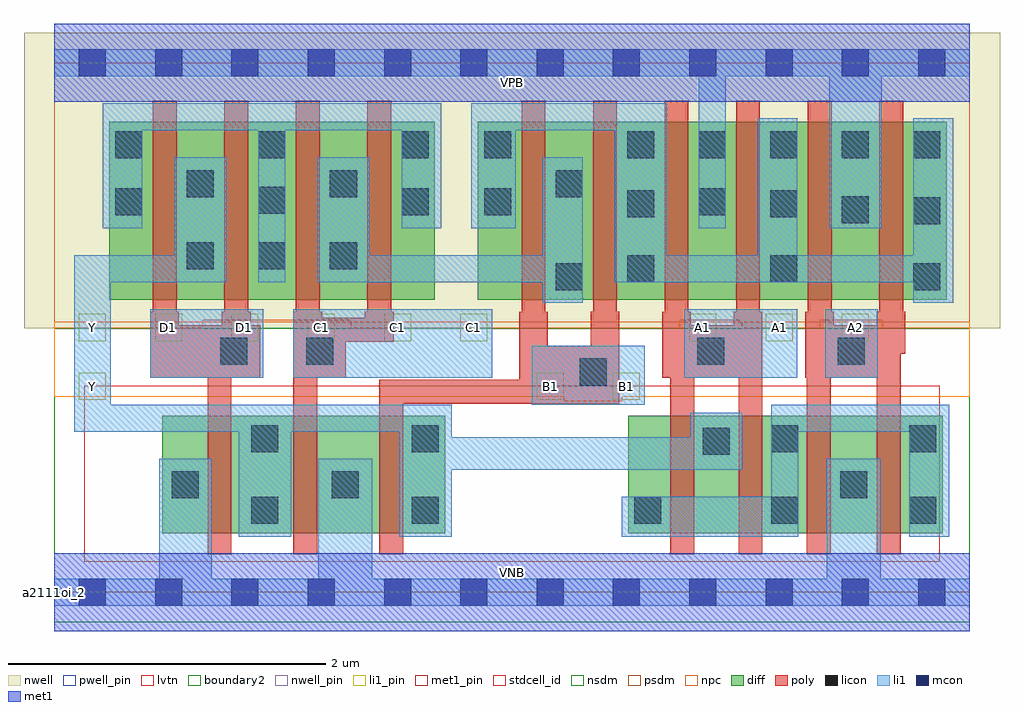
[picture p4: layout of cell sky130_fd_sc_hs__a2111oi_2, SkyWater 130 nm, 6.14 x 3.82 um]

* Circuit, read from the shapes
.subckt sky130_fd_sc_hs__a2111oi_2 A1 A2 B1 C1 D1 VGND VNB VPB VPWR Y
XM1 Y D1 VGND VNB sky130_fd_pr__nfet_01v8_lvt w=0.74 l=0.15
XM2 VGND C1 Y VNB sky130_fd_pr__nfet_01v8_lvt w=0.74 l=0.15
XM3 Y B1 VGND VNB sky130_fd_pr__nfet_01v8_lvt w=0.74 l=0.15
XM4 Y A1 n1 VNB sky130_fd_pr__nfet_01v8_lvt w=0.74 l=0.15 m=2
XM5 VGND A2 n1 VNB sky130_fd_pr__nfet_01v8_lvt w=0.74 l=0.15 m=2
XM6 Y D1 n2 VPB sky130_fd_pr__pfet_01v8 w=1.12 l=0.15 m=2
XM7 n3 C1 n2 VPB sky130_fd_pr__pfet_01v8 w=1.12 l=0.15 m=2
XM8 n3 B1 n4 VPB sky130_fd_pr__pfet_01v8 w=1.12 l=0.15 m=2
XM9 VPWR A1 n4 VPB sky130_fd_pr__pfet_01v8 w=1.12 l=0.15 m=2
XM10 VPWR A2 n4 VPB sky130_fd_pr__pfet_01v8 w=1.12 l=0.15 m=2
.ends

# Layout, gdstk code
import gdstk
lib = gdstk.Library(unit=1e-6, precision=1e-09)
def R(c, l, rs):  # rectangles x0, y0, x1, y1
    for r in rs: c.add(gdstk.rectangle(r[:2], r[2:], *l))
def A(c, l, x, y, w, h, nx, ny, dx, dy):  # array of equal rectangles
    R(c, l, [(x+i*dx, y+j*dy, x+i*dx+w, y+j*dy+h) for i in range(nx) for j in range(ny)])
def P(c, l, *ps):  # polygons
    for p in ps: c.add(gdstk.Polygon(p, *l))
nwell_pin = (64, 16)
nwell = (64, 20)
diff = (65, 20)
poly = (66, 20)
licon = (66, 44)
li1_pin = (67, 16)
li1 = (67, 20)
mcon = (67, 44)
met1_pin = (68, 16)
met1 = (68, 20)
stdcell_id = (81, 4)
nsdm = (93, 44)
psdm = (94, 20)
npc = (95, 20)
pwell_pin = (122, 16)
lvtn = (125, 44)
boundary2 = (236, 0)

sky130_fd_sc_hs__a2111oi = lib.new_cell('sky130_fd_sc_hs__a2111oi_2')
R(sky130_fd_sc_hs__a2111oi, nwell_pin, [(0,3.085,5.76,3.33)])
R(sky130_fd_sc_hs__a2111oi, nwell, [(-0.19,1.66,5.95,3.52)])
R(sky130_fd_sc_hs__a2111oi, diff, [(0.68,0.37,2.46,1.11), (3.61,0.37,5.59,1.11), (0.345,1.84,2.395,2.96), (2.665,1.84,5.615,2.96)])
P(sky130_fd_sc_hs__a2111oi, poly, [(5.355,1.765),(5.34,1.765),(5.34,3.09),(5.19,3.09),(5.19,1.765),(5.175,1.765),(5.175,1.68),(4.905,1.68),(4.905,1.765),(4.89,1.765),(4.89,3.09),(4.74,3.09),(4.74,1.765),(4.725,1.765),(4.725,1.35),(4.735,1.35),(4.735,0.24),(4.885,0.24),(4.885,1.35),(5.175,1.35),(5.175,0.24),(5.325,0.24),(5.325,1.5),(5.355,1.5)],
  [(4.455,1.765),(4.44,1.765),(4.44,3.09),(4.29,3.09),(4.29,1.765),(4.275,1.765),(4.275,1.68),(4.005,1.68),(4.005,1.765),(3.99,1.765),(3.99,3.09),(3.84,3.09),(3.84,1.765),(3.825,1.765),(3.825,1.35),(3.875,1.35),(3.875,0.24),(4.025,0.24),(4.025,1.35),(4.305,1.35),(4.305,0.24),(4.455,0.24)],
  [(3.555,1.765),(3.54,1.765),(3.54,3.09),(3.39,3.09),(3.39,1.765),(3.375,1.765),(3.375,1.55),(3.105,1.55),(3.105,1.765),(3.09,1.765),(3.09,3.09),(2.94,3.09),(2.94,1.765),(2.925,1.765),(2.925,1.335),(2.045,1.335),(2.045,0.24),(2.195,0.24),(2.195,1.185),(3.555,1.185)],
  [(2.135,1.765),(2.12,1.765),(2.12,3.09),(1.97,3.09),(1.97,1.765),(1.955,1.765),(1.955,1.725),(1.685,1.725),(1.685,1.765),(1.67,1.765),(1.67,3.09),(1.52,3.09),(1.52,1.765),(1.505,1.765),(1.505,0.24),(1.655,0.24),(1.655,1.35),(1.835,1.35),(1.835,1.575),(2.135,1.575)],
  [(1.295,1.68),(1.235,1.68),(1.235,1.765),(1.22,1.765),(1.22,3.09),(1.07,3.09),(1.07,1.765),(1.055,1.765),(1.055,1.68),(0.785,1.68),(0.785,1.765),(0.77,1.765),(0.77,3.09),(0.62,3.09),(0.62,1.765),(0.605,1.765),(0.605,1.35),(0.965,1.35),(0.965,0.24),(1.115,0.24),(1.115,1.35),(1.295,1.35)])
A(sky130_fd_sc_hs__a2111oi, licon, 0.835, 2.03, 0.17, 0.17, 3, 1, 0.45, 0)
A(sky130_fd_sc_hs__a2111oi, licon, 0.385, 2.73, 0.17, 0.17, 3, 1, 0.9, 0)
A(sky130_fd_sc_hs__a2111oi, licon, 3.605, 2.73, 0.17, 0.17, 5, 1, 0.45, 0)
R(sky130_fd_sc_hs__a2111oi, licon, [(1.24,0.43,1.41,0.6), (2.25,0.43,2.42,0.6), (3.65,0.43,3.82,0.6), (4.51,0.43,4.68,0.6), (5.38,0.43,5.55,0.6), (0.74,0.59,0.91,0.76), (1.745,0.59,1.915,0.76), (4.945,0.59,5.115,0.76), (4.08,0.865,4.25,1.035), (1.24,0.88,1.41,1.05), (2.25,0.88,2.42,1.05), (4.51,0.88,4.68,1.05), (5.38,0.88,5.55,1.05), (3.305,1.3,3.475,1.47), (1.045,1.43,1.215,1.6), (1.585,1.43,1.755,1.6), (4.045,1.43,4.215,1.6), (4.93,1.43,5.1,1.6), (3.155,1.9,3.325,2.07), (5.405,1.9,5.575,2.07), (3.605,1.95,3.775,2.12), (4.505,1.95,4.675,2.12), (5.405,2.315,5.575,2.485), (4.955,2.32,5.125,2.49), (3.605,2.36,3.775,2.53), (4.505,2.36,4.675,2.53), (0.385,2.37,0.555,2.54), (2.185,2.37,2.355,2.54), (2.705,2.37,2.875,2.54), (4.055,2.37,4.225,2.54), (1.285,2.38,1.455,2.55), (0.835,2.485,1.005,2.655), (1.735,2.485,1.905,2.655), (3.155,2.485,3.325,2.655), (2.705,2.73,2.875,2.9)])
A(sky130_fd_sc_hs__a2111oi, li1_pin, 0.155, 1.58, 0.17, 0.17, 6, 1, 0.48, 0)
A(sky130_fd_sc_hs__a2111oi, li1_pin, 3.995, 1.58, 0.17, 0.17, 3, 1, 0.48, 0)
R(sky130_fd_sc_hs__a2111oi, li1_pin, [(0.155,1.21,0.325,1.38), (3.035,1.21,3.205,1.38), (3.515,1.21,3.685,1.38)])
R(sky130_fd_sc_hs__a2111oi, li1, [(3.005,1.18,3.715,1.55), (0.605,1.35,1.315,1.78), (1.505,1.35,2.755,1.78), (3.965,1.35,4.675,1.78), (4.85,1.35,5.18,1.78)])
P(sky130_fd_sc_hs__a2111oi, li1, [(4.875,2.29),(4.875,3.245),(4.225,3.245),(4.225,2.29),(4.055,2.29),(4.055,3.245),(0,3.245),(0,3.415),(5.76,3.415),(5.76,3.245),(5.205,3.245),(5.205,2.29)],
  [(0.66,0.085),(0.66,0.84),(0.99,0.84),(0.99,0.085),(1.66,0.085),(1.66,0.84),(2,0.84),(2,0.085),(4.86,0.085),(4.86,0.84),(5.2,0.84),(5.2,0.085),(5.76,0.085),(5.76,-0.085),(0,-0.085),(0,0.085)],
  [(1.285,1.95),(1.285,2.905),(0.555,2.905),(0.555,2.29),(0.305,2.29),(0.305,3.075),(2.435,3.075),(2.435,2.29),(2.185,2.29),(2.185,2.905),(1.455,2.905),(1.455,1.95)],
  [(2.17,0.35),(2.17,1.01),(1.49,1.01),(1.49,0.35),(1.16,0.35),(1.16,1.01),(0.125,1.01),(0.125,2.12),(0.755,2.12),(0.755,2.735),(1.085,2.735),(1.085,1.95),(0.355,1.95),(0.355,1.18),(2.5,1.18),(2.5,0.975),(4,0.975),(4,1.13),(4.33,1.13),(4.33,0.77),(2.5,0.77),(2.5,0.35)],
  [(3.075,1.82),(3.075,1.95),(1.655,1.95),(1.655,2.735),(1.985,2.735),(1.985,2.12),(3.075,2.12),(3.075,2.735),(3.325,2.735),(3.325,1.82)],
  [(5.655,2.98),(5.405,2.98),(5.405,2.12),(4.675,2.12),(4.675,2.98),(4.425,2.98),(4.425,2.12),(3.855,2.12),(3.855,3.075),(2.625,3.075),(2.625,2.29),(2.905,2.29),(2.905,2.905),(3.525,2.905),(3.525,1.95),(5.405,1.95),(5.405,1.82),(5.655,1.82)],
  [(4.51,0.6),(4.51,1.18),(5.63,1.18),(5.63,0.35),(5.38,0.35),(5.38,1.01),(4.68,1.01),(4.68,0.35),(3.57,0.35),(3.57,0.6)])
A(sky130_fd_sc_hs__a2111oi, mcon, 0.155, -0.085, 0.17, 0.17, 12, 2, 0.48, 3.33)
R(sky130_fd_sc_hs__a2111oi, met1_pin, [(0,0,5.76,0.245), (0,3.085,5.76,3.33)])
R(sky130_fd_sc_hs__a2111oi, met1, [(0,-0.245,5.76,0.245), (0,3.085,5.76,3.575)])
R(sky130_fd_sc_hs__a2111oi, stdcell_id, [(0,0,5.76,3.33)])
R(sky130_fd_sc_hs__a2111oi, nsdm, [(0,-0.19,5.76,1.66)])
P(sky130_fd_sc_hs__a2111oi, psdm, [(5.76,3.52),(0,3.52),(0,1.66),(0.935,1.66),(0.935,1.71),(1.865,1.71),(1.865,1.66),(3.935,1.66),(3.935,1.71),(4.325,1.71),(4.325,1.66),(4.82,1.66),(4.82,1.71),(5.21,1.71),(5.21,1.66),(5.76,1.66)])
P(sky130_fd_sc_hs__a2111oi, npc, [(5.76,1.7),(0,1.7),(0,1.23),(3.205,1.23),(3.205,1.2),(3.575,1.2),(3.575,1.23),(5.76,1.23)])
R(sky130_fd_sc_hs__a2111oi, pwell_pin, [(0,0,5.76,0.245)])
R(sky130_fd_sc_hs__a2111oi, lvtn, [(0.19,0.19,5.57,1.3)])
R(sky130_fd_sc_hs__a2111oi, boundary2, [(0,0,5.76,3.33)])
sky130_fd_sc_hs__a2111oi.add(gdstk.Label('a2111oi_2', (0,0), layer=83, texttype=44))
sky130_fd_sc_hs__a2111oi.add(gdstk.Label('VNB', (2.88,0.123), layer=64, texttype=59))
sky130_fd_sc_hs__a2111oi.add(gdstk.Label('VPB', (2.88,3.208), layer=64, texttype=5))
sky130_fd_sc_hs__a2111oi.add(gdstk.Label('VPWR', (2.88,3.208), layer=68, texttype=5))
sky130_fd_sc_hs__a2111oi.add(gdstk.Label('VGND', (2.88,0.123), layer=68, texttype=5))
sky130_fd_sc_hs__a2111oi.add(gdstk.Label('D1', (0.72,1.665), layer=67, texttype=5))
sky130_fd_sc_hs__a2111oi.add(gdstk.Label('D1', (1.2,1.665), layer=67, texttype=5))
sky130_fd_sc_hs__a2111oi.add(gdstk.Label('B1', (3.12,1.295), layer=67, texttype=5))
sky130_fd_sc_hs__a2111oi.add(gdstk.Label('B1', (3.6,1.295), layer=67, texttype=5))
sky130_fd_sc_hs__a2111oi.add(gdstk.Label('Y', (0.24,1.295), layer=67, texttype=5))
sky130_fd_sc_hs__a2111oi.add(gdstk.Label('Y', (0.24,1.665), layer=67, texttype=5))
sky130_fd_sc_hs__a2111oi.add(gdstk.Label('C1', (1.68,1.665), layer=67, texttype=5))
sky130_fd_sc_hs__a2111oi.add(gdstk.Label('C1', (2.16,1.665), layer=67, texttype=5))
sky130_fd_sc_hs__a2111oi.add(gdstk.Label('C1', (2.64,1.665), layer=67, texttype=5))
sky130_fd_sc_hs__a2111oi.add(gdstk.Label('A2', (5.04,1.665), layer=67, texttype=5))
sky130_fd_sc_hs__a2111oi.add(gdstk.Label('A1', (4.08,1.665), layer=67, texttype=5))
sky130_fd_sc_hs__a2111oi.add(gdstk.Label('A1', (4.56,1.665), layer=67, texttype=5))

lib.write_gds('sky130_fd_sc_hs__a2111oi_2.gds')
